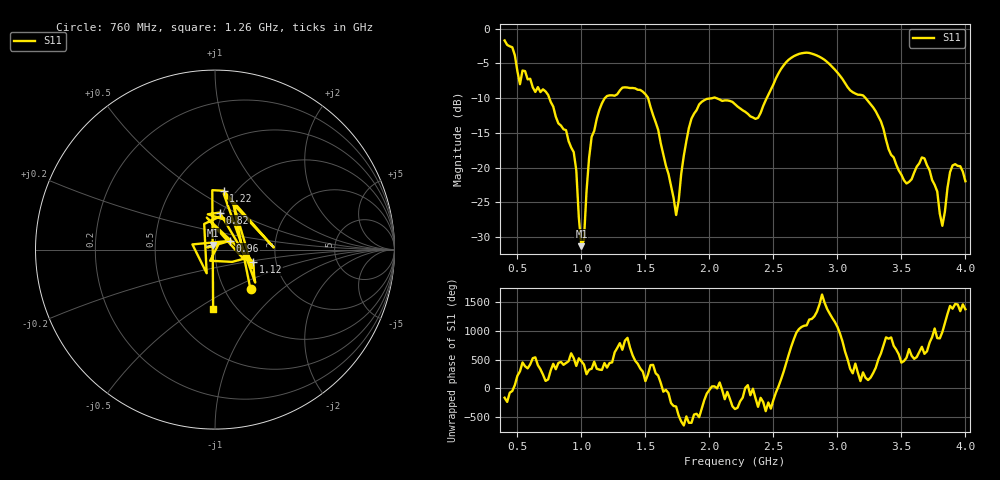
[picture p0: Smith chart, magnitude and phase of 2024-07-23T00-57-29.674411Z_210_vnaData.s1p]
!Created with skrf (http://scikit-rf.org).
# Hz S RI R 50.0
!freq ReS11 ImS11
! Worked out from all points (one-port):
!   181 points, 400 MHz to 4 GHz, reference 50 ohm
!   lowest |S11| = -31.3 dB at 1 GHz (marker M1), VSWR 1.06, Z = 49 + j2.48 ohm
!   |S11| at or under -10 dB: 749.4 MHz to 1.183 GHz (433.9 MHz wide, 44.9 % of centre); 1.521 GHz to 2.022 GHz (500.9 MHz wide, 28.3 % of centre); 3.221 GHz to end of sweep (the widest 3 of 4)
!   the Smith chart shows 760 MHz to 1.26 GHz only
!   S11 on the Smith chart (normalised r, x): 760 MHz: 1.32, -0.64; 820 MHz: 0.97, +0.42; 960 MHz: 1.17, +0.11; 1.12 GHz: 1.52, -0.22; 1.22 GHz: 0.88, +0.65; 1.26 GHz: 0.79, -0.58
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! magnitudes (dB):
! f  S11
! 400 MHz  -1.7
! 520 MHz  -8.0
! 760 MHz  -10.5
! 820 MHz  -13.6
! 860 MHz  -14.5
! 960 MHz  -20.4
! 1 GHz  -31.3
! 1.02 GHz  -30.4
! 1.06 GHz  -18.6
! 1.12 GHz  -13.0
! 1.22 GHz  -9.6
! 1.26 GHz  -9.6
! 1.3 GHz  -8.9
! 1.52 GHz  -9.9
! 1.74 GHz  -26.8
! 1.76 GHz  -24.7
! 1.84 GHz  -14.3
! 1.92 GHz  -10.9
! 2.2 GHz  -10.9
! 2.38 GHz  -12.8
! 2.66 GHz  -4.0
! 3.1 GHz  -8.9
! 3.3 GHz  -11.9
! 3.56 GHz  -22.1
! 3.68 GHz  -18.7
! 3.82 GHz  -28.4
! 3.9 GHz  -19.7
! 4 GHz  -22.0
